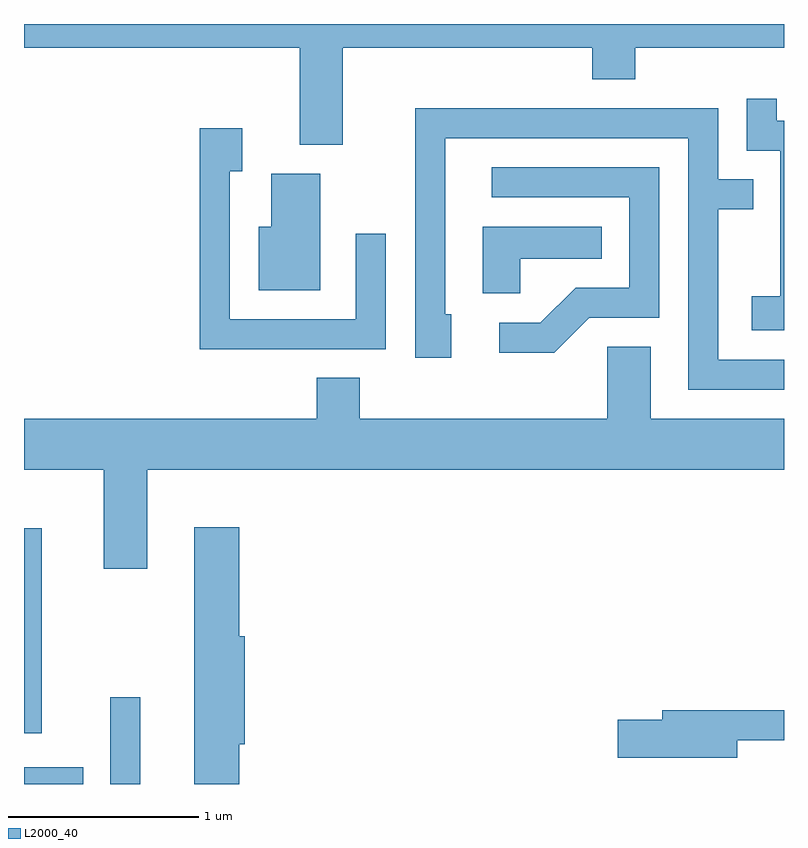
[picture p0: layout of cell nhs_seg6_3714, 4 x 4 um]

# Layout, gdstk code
import gdstk
lib = gdstk.Library(unit=1e-6, precision=1e-09)
def R(c, l, rs):  # rectangles x0, y0, x1, y1
    for r in rs: c.add(gdstk.rectangle(r[:2], r[2:], *l))
def P(c, l, *ps):  # polygons
    for p in ps: c.add(gdstk.Polygon(p, *l))
L2000_40 = (2000, 40)

nhs_seg6_3714 = lib.new_cell('nhs_seg6_3714')
R(nhs_seg6_3714, L2000_40, [(297.611,1546.162,297.923,1546.249), (298.066,1546.162,298.224,1546.618), (297.611,1546.428,297.704,1547.508)])
P(nhs_seg6_3714, L2000_40, [(299.289,1550.036),(300.601,1550.036),(300.601,1549.871),(300.829,1549.871),(300.829,1550.036),(301.611,1550.036),(301.611,1550.162),(297.611,1550.162),(297.611,1550.036),(299.061,1550.036),(299.061,1549.526),(299.289,1549.526)],
  [(301.611,1549.654),(301.574,1549.654),(301.574,1549.768),(301.416,1549.768),(301.416,1549.496),(301.591,1549.496),(301.591,1548.729),(301.441,1548.729),(301.441,1548.551),(301.611,1548.551)],
  [(301.611,1548.394),(301.264,1548.394),(301.264,1549.186),(301.448,1549.186),(301.448,1549.344),(301.264,1549.344),(301.264,1549.719),(299.671,1549.719),(299.671,1548.406),(299.859,1548.406),(299.859,1548.634),(299.829,1548.634),(299.829,1549.561),(301.106,1549.561),(301.106,1548.236),(301.611,1548.236)],
  [(299.514,1549.058),(299.356,1549.058),(299.356,1548.609),(298.694,1548.609),(298.694,1549.386),(298.759,1549.386),(298.759,1549.614),(298.536,1549.614),(298.536,1548.451),(299.514,1548.451)],
  [(300.587,1548.616),(300.954,1548.616),(300.954,1549.409),(300.073,1549.409),(300.073,1549.251),(300.796,1549.251),(300.796,1548.774),(300.514,1548.774),(300.329,1548.589),(300.113,1548.589),(300.113,1548.431),(300.402,1548.431)],
  [(299.169,1549.374),(298.911,1549.374),(298.911,1549.094),(298.846,1549.094),(298.846,1548.761),(299.169,1548.761)],
  [(300.224,1548.926),(300.653,1548.926),(300.653,1549.094),(300.026,1549.094),(300.026,1548.746),(300.224,1548.746)],
  [(298.259,1547.816),(301.611,1547.816),(301.611,1548.084),(300.909,1548.084),(300.909,1548.464),(300.681,1548.464),(300.681,1548.084),(299.379,1548.084),(299.379,1548.299),(299.151,1548.299),(299.151,1548.084),(297.611,1548.084),(297.611,1547.816),(298.031,1547.816),(298.031,1547.296),(298.259,1547.296)],
  [(298.744,1546.371),(298.774,1546.371),(298.774,1546.939),(298.744,1546.939),(298.744,1547.514),(298.506,1547.514),(298.506,1546.162),(298.744,1546.162)],
  [(301.364,1546.391),(301.611,1546.391),(301.611,1546.549),(300.971,1546.549),(300.971,1546.499),(300.736,1546.499),(300.736,1546.301),(301.364,1546.301)])

lib.write_gds('nhs_seg6_3714.gds')
